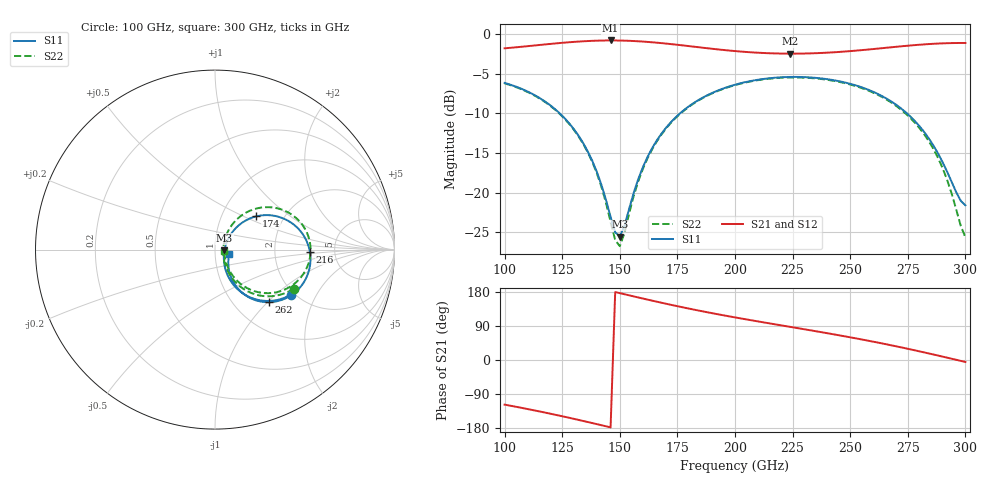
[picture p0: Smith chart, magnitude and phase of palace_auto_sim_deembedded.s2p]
! Created with skrf 1.11.0 (http://scikit-rf.org).
# GHz S DB R 50.0
!freq dBS11 angS11 dBS21 angS21 dBS12 angS12 dBS22 angS22
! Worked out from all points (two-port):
!   101 points, 100 GHz to 300 GHz, reference 50 ohm
!   highest |S21| = -0.81 dB at 146 GHz (marker M1); lowest = -2.5 dB at 224 GHz (marker M2)
!   |S21| within 3 dB of the highest: start of sweep to end of sweep
!   lowest |S11| = -25.5 dB at 150 GHz (marker M3), VSWR 1.11, Z = 55.6 - j0.314 ohm
!   |S11| at or under -10 dB: 124 GHz to 176.1 GHz (52.16 GHz wide, 34.8 % of centre); 274.6 GHz to end of sweep
!   |S22| runs from -26.7 to -5.5 dB; largest |S21 - S12| = 9.9e-14
!   S11 on the Smith chart (normalised r, x): 100 GHz: 1.92, -1.27; 174 GHz: 1.46, +0.59; 216 GHz: 3.24, -0.10; 262 GHz: 1.43, -1.02; 300 GHz: 1.17, -0.06
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100  -6.16 -30.6  -1.80 -117.8  -1.80 -117.8  -6.21 -26.3
120  -9.02 -51.1  -1.24 -141.9  -1.24 -141.9  -9.08 -46.4
134  -13.69 -63.0  -0.91 -160.7  -0.91 -160.7  -13.79 -58.4
140  -17.34 -63.0  -0.84 -169.2  -0.84 -169.2  -17.52 -59.1
146  -23.04 -45.8  -0.81 -177.8  -0.81 -177.8  -23.65 -43.0
148  -24.96 -28.0  -0.81 179.3  -0.81 179.3  -25.97 -24.4
150  -25.52 -3.0  -0.82 176.5  -0.82 176.5  -26.73 4.3
160  -16.78 45.6  -0.95 162.2  -0.95 162.2  -16.99 55.4
168  -12.58 43.5  -1.14 151.2  -1.14 151.2  -12.69 52.7
174  -10.56 38.8  -1.32 143.3  -1.32 143.3  -10.64 47.9
186  -8.01 27.4  -1.72 128.3  -1.72 128.3  -8.06 36.5
200  -6.39 13.9  -2.15 112.4  -2.15 112.4  -6.43 23.1
216  -5.54 -1.2  -2.43 95.6  -2.43 95.6  -5.60 8.2
224  -5.41 -8.7  -2.47 87.4  -2.47 87.4  -5.47 0.9
234  -5.49 -17.9  -2.42 77.1  -2.42 77.1  -5.57 -8.3
250  -6.27 -33.0  -2.15 59.9  -2.15 59.9  -6.36 -23.4
262  -7.55 -44.4  -1.83 46.0  -1.83 46.0  -7.66 -35.1
268  -8.53 -49.9  -1.66 38.6  -1.66 38.6  -8.66 -41.1
278  -10.94 -57.8  -1.40 25.6  -1.40 25.6  -11.15 -50.4
286  -13.98 -60.5  -1.23 14.7  -1.23 14.7  -14.42 -55.5
292  -17.30 -55.5  -1.15 6.2  -1.15 6.2  -18.31 -53.9
300  -21.58 -17.6  -1.13 -5.2  -1.13 -5.2  -25.60 -8.3
